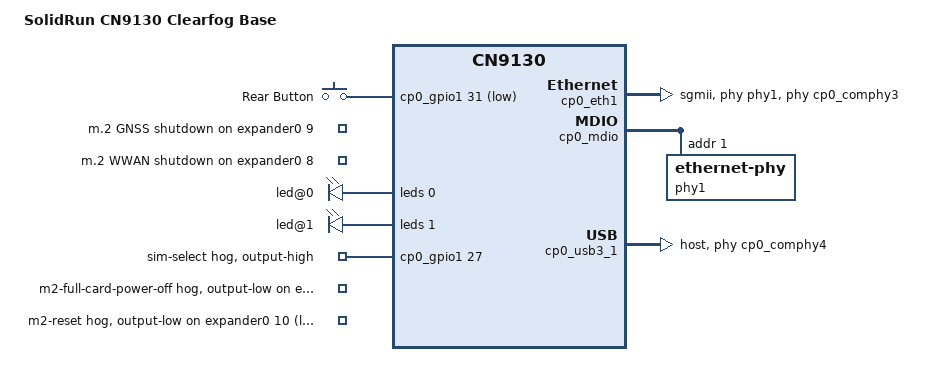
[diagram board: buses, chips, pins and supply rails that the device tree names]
// SPDX-License-Identifier: GPL-2.0+
/*
 * Copyright (C) 2024 Josua Mayer <josua@solid-run.com>
 *
 * DTS for SolidRun CN9130 Clearfog Base.
 *
 */

/dts-v1/;

#include <dt-bindings/input/input.h>
#include <dt-bindings/leds/common.h>

#include "cn9130.dtsi"
#include "cn9130-sr-som.dtsi"
#include "cn9130-cf.dtsi"

/ {
	model = "SolidRun CN9130 Clearfog Base";
	compatible = "solidrun,cn9130-clearfog-base",
		     "solidrun,cn9130-sr-som", "marvell,cn9130";

	gpio-keys {
		compatible = "gpio-keys";
		pinctrl-0 = <&rear_button_pins>;
		pinctrl-names = "default";

		button-0 {
			/* The rear SW3 button */
			label = "Rear Button";
			gpios = <&cp0_gpio1 31 GPIO_ACTIVE_LOW>;
			linux,can-disable;
			linux,code = <BTN_0>;
		};
	};

	rfkill-m2-gnss {
		compatible = "rfkill-gpio";
		label = "m.2 GNSS";
		radio-type = "gps";
		/* rfkill-gpio inverts internally */
		shutdown-gpios = <&expander0 9 GPIO_ACTIVE_HIGH>;
	};

	/* M.2 is B-keyed, so w-disable is for WWAN */
	rfkill-m2-wwan {
		compatible = "rfkill-gpio";
		label = "m.2 WWAN";
		radio-type = "wwan";
		/* rfkill-gpio inverts internally */
		shutdown-gpios = <&expander0 8 GPIO_ACTIVE_HIGH>;
	};
};

/* SRDS #3 - SGMII 1GE */
&cp0_eth1 {
	phy = <&phy1>;
	phys = <&cp0_comphy3 1>;
	phy-mode = "sgmii";
	status = "okay";
};

&cp0_eth2_phy {
	/*
	 * Configure LEDs default behaviour:
	 * - LED[0]: link/activity: On/blink (green)
	 * - LED[1]: link is 100/1000Mbps: On (yellow)
	 * - LED[2]: high impedance (floating)
	 */
	marvell,reg-init = <3 16 0xf000 0x0a61>;

	leds {
		#address-cells = <1>;
		#size-cells = <0>;

		led@0 {
			reg = <0>;
			color = <LED_COLOR_ID_GREEN>;
			function = LED_FUNCTION_WAN;
			default-state = "keep";
		};

		led@1 {
			reg = <1>;
			color = <LED_COLOR_ID_YELLOW>;
			function = LED_FUNCTION_WAN;
			default-state = "keep";
		};
	};
};

&cp0_gpio1 {
	sim-select-hog {
		gpio-hog;
		gpios = <27 GPIO_ACTIVE_HIGH>;
		output-high;
		line-name = "sim-select";
	};
};

&cp0_mdio {
	phy1: ethernet-phy@1 {
		reg = <1>;
		/*
		 * Configure LEDs default behaviour:
		 * - LED[0]: link/activity: On/blink (green)
		 * - LED[1]: link is 100/1000Mbps: On (yellow)
		 * - LED[2]: high impedance (floating)
		 *
		 * Configure LEDs electrical polarity
		 * - on-state: low
		 * - off-state: high (not hi-z, to avoid residual glow)
		 */
		marvell,reg-init = <3 16 0xf000 0x0a61>,
				   <3 17 0x003f 0x000a>;

		leds {
			#address-cells = <1>;
			#size-cells = <0>;

			led@0 {
				reg = <0>;
				color = <LED_COLOR_ID_GREEN>;
				function = LED_FUNCTION_LAN;
				default-state = "keep";
			};

			led@1 {
				reg = <1>;
				color = <LED_COLOR_ID_YELLOW>;
				function = LED_FUNCTION_LAN;
				default-state = "keep";
			};
		};
	};
};

&cp0_pinctrl {
	pinctrl-0 = <&sim_select_pins>;
	pintrl-names = "default";

	rear_button_pins: cp0-rear-button-pins {
		marvell,pins = "mpp31";
		marvell,function = "gpio";
	};

	sim_select_pins: cp0-sim-select-pins {
		marvell,pins = "mpp27";
		marvell,function = "gpio";
	};
};

/*
 * SRDS #4 - USB 3.0 host on M.2 connector
 * USB-2.0 Host on Type-A connector
 */
&cp0_usb3_1 {
	phys = <&cp0_comphy4 1>, <&cp0_utmi1>;
	phy-names = "comphy", "utmi";
	dr_mode = "host";
	status = "okay";
};

&expander0 {
	m2-full-card-power-off-hog {
		gpio-hog;
		gpios = <2 GPIO_ACTIVE_LOW>;
		output-low;
		line-name = "m2-full-card-power-off";
	};

	m2-reset-hog {
		gpio-hog;
		gpios = <10 GPIO_ACTIVE_LOW>;
		output-low;
		line-name = "m2-reset";
	};
};
